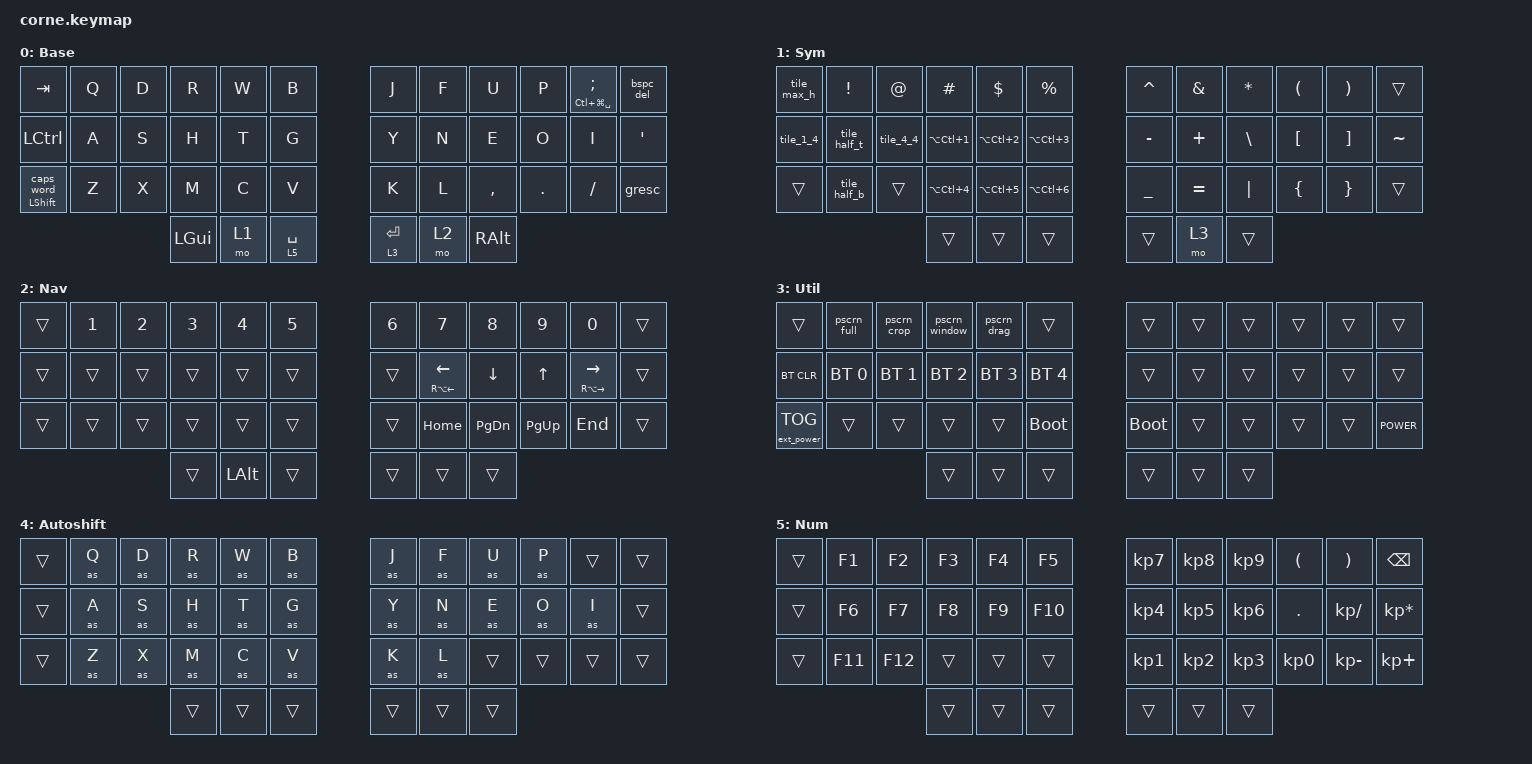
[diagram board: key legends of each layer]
/*
 * Copyright (c) 2020 The ZMK Contributors
 *
 * SPDX-License-Identifier: MIT
 */

#include <behaviors.dtsi>
#include <dt-bindings/zmk/bt.h>
#include <dt-bindings/zmk/ext_power.h>
#include <dt-bindings/zmk/keys.h>

/ {
    combos {
        compatible = "zmk,combos";

        vol_up {
            bindings = <&kp C_VOLUME_UP>;
            key-positions = <10 11>;
        };

        vol_down {
            bindings = <&kp C_VOLUME_DOWN>;
            key-positions = <22 23>;
        };

        vol_mute {
            bindings = <&kp K_MUTE>;
            key-positions = <34 35>;
        };

        media_next {
            bindings = <&kp C_NEXT>;
            key-positions = <8 9>;
        };

        media_prev {
            bindings = <&kp C_PREV>;
            key-positions = <6 7>;
        };

        media_play_pause {
            bindings = <&kp C_PLAY_PAUSE>;
            key-positions = <7 8>;
        };

        brightness_up {
            bindings = <&kp C_BRIGHTNESS_INC>;
            key-positions = <3 2>;
        };

        brightness_down {
            bindings = <&kp C_BRIGHTNESS_DEC>;
            key-positions = <1 2>;
        };

        window_right_half {
            bindings = <&kp LC(LA(RIGHT))>;
            key-positions = <17 16>;
            layers = <1>;
        };

        window_left_half {
            bindings = <&kp LC(LA(LEFT))>;
            key-positions = <16 15>;
            layers = <1>;
        };

        window_center {
            bindings = <&kp LC(LA(LS(E)))>;
            key-positions = <16 15 17>;
            layers = <1>;
        };

        first_two_thirds {
            bindings = <&kp LC(LA(LS(N)))>;
            key-positions = <27 28>;
        };

        last_two_thirds {
            bindings = <&kp LC(LA(LS(O)))>;
            key-positions = <28 29>;
        };

        first_three_fourths {
            bindings = <&kp LC(LA(LS(L)))>;
            key-positions = <12 13>;
        };

        last_three_fourths {
            bindings = <&kp LC(LA(LS(SLASH)))>;
            key-positions = <13 14>;
        };
    };

    behaviors {
        as_ht: autoshift_hold_tap {
            compatible = "zmk,behavior-hold-tap";
            label = "AUTOSHIFT_HOLD_TAP";
            bindings = <&shift>, <&kp>;

            #binding-cells = <2>;
            tapping-term-ms = <190>;
        };

        hml: homerow_mods_left {
            compatible = "zmk,behavior-hold-tap";
            label = "HOMEROW_MODS_LEFT_HAND";
            bindings = <&kp>, <&kp>;

            #binding-cells = <2>;
            tapping-term-ms = <220>;
            hold-trigger-key-positions = <6 7 8 9 10 11 18 19 20 21 22 23 30 31 32 33 34 35 39 40 41>;
        };

        hmr: homerow_mods_right {
            compatible = "zmk,behavior-hold-tap";
            label = "HOMEROW_MODS_RIGHT_HAND";
            bindings = <&kp>, <&kp>;

            #binding-cells = <2>;
            tapping-term-ms = <220>;
            hold-trigger-key-positions = <0 1 2 3 4 5 12 13 14 15 16 17 24 25 26 27 28 29 36 37 38>;
        };

        bspc_del: backspace_delete {
            compatible = "zmk,behavior-mod-morph";
            label = "BACKSPACE_DELETE";
            bindings = <&kp BACKSPACE>, <&kp DELETE>;

            #binding-cells = <0>;
            mods = <(MOD_LSFT|MOD_RSFT)>;
        };

        sft_cw: shift_caps_word {
            compatible = "zmk,behavior-hold-tap";
            label = "SHIFT_CAPS_WORD";
            bindings = <&kp>, <&caps_word>;

            #binding-cells = <2>;
            tapping-term-ms = <200>;
        };
    };

    macros {
        pscrn_drag: pscrn_drag {
            compatible = "zmk,behavior-macro";
            label = "PSCRN_DRAG";
            #binding-cells = <0>;
            bindings = <&kp LS(LG(N4))>;
        };

        pscrn_window: pscrn_window {
            compatible = "zmk,behavior-macro";
            label = "PSCRN_WINDOW";
            #binding-cells = <0>;
            bindings = <&kp LS(LG(N4)) &kp SPACE>;
        };

        pscrn_full: pscrn_full {
            compatible = "zmk,behavior-macro";
            label = "PSCRN_FULL";
            #binding-cells = <0>;
            bindings = <&kp LS(LG(N3))>;
        };

        pscrn_crop: pscrn_crop {
            compatible = "zmk,behavior-macro";
            label = "PSCRN_CROP";
            #binding-cells = <0>;
            bindings = <&kp LS(LG(N5))>;
        };

        shift: with_lshift {
            compatible = "zmk,behavior-macro-one-param";
            #binding-cells = <1>;
            bindings =
                <&macro_press>,
                <&kp LEFT_SHIFT>,
                <&macro_tap>,
                <&macro_param_1to1 &kp MACRO_PLACEHOLDER>,
                <&macro_release>,
                <&kp LEFT_SHIFT>;

            label = "KEY_PRESS_WITH_LEFT_SHIFT_MODIFIER";
        };

        as: autoshift {
            compatible = "zmk,behavior-macro-one-param";
            #binding-cells = <1>;
            bindings =
                <&macro_press>,
                <&macro_param_1to1 &macro_param_1to2 &as_ht MACRO_PLACEHOLDER MACRO_PLACEHOLDER>,
                <&macro_pause_for_release>,
                <&macro_release>,
                <&macro_param_1to1 &macro_param_1to2 &as_ht MACRO_PLACEHOLDER MACRO_PLACEHOLDER>;

            label = "AUTOSHIFT_KEYPRESS";
        };

        tile_half_t: bottom_half {
            compatible = "zmk,behavior-macro";
            #binding-cells = <0>;
            bindings = <&kp LC(LA(UP_ARROW))>;
            label = "BOTTOM_HALF";
        };

        tile_half_b: top_half {
            compatible = "zmk,behavior-macro";
            #binding-cells = <0>;
            bindings = <&kp LC(LA(DOWN_ARROW))>;
            label = "TOP_HALF";
        };

        tile_1_3: first_third {
            compatible = "zmk,behavior-macro";
            #binding-cells = <0>;
            bindings = <&kp LC(LA(N))>;
            label = "FIRST_THIRD";
        };

        tile_3_3: last_third {
            compatible = "zmk,behavior-macro";
            #binding-cells = <0>;
            bindings = <&kp LC(LA(O))>;
            label = "LAST_THIRD";
        };

        tile_1_4: first_fourth {
            compatible = "zmk,behavior-macro";
            #binding-cells = <0>;
            bindings = <&kp LC(LA(L))>;
            label = "FIRST_FOURTH";
        };

        tile_4_4: last_fourth {
            compatible = "zmk,behavior-macro";
            #binding-cells = <0>;
            bindings = <&kp LC(LA(SLASH))>;
            label = "LAST_FOURTH";
        };

        tile_max_h: max_height {
            compatible = "zmk,behavior-macro";
            #binding-cells = <0>;
            bindings = <&kp LC(LA(GRAVE))>;
            label = "MAX_HEIGHT";
        };
    };

    keymap {
        compatible = "zmk,keymap";

        default_layer {
            //  ┌─────┬─────┬─────┬─────┬─────┬─────┐      ┌─────┬─────┬─────┬─────┬─────┬─────┐
            //  │ TAB │  Q  │  D  │  R  │  W  │  B  │      │  J  │  F  │  U  │  P  │  ;  │ BS  │
            //  │ CTRL│  A  │  S  │  D  │  F  │  G  │      │  Y  │  N  │  E  │  O  │  I  │  '  │
            //  │ SHFT│  Z  │  X  │  C  │  V  │  B  │      │  K  │  L  │  ,  │  .  │  /  │ ESC │
            //  └─────┴─────┴─────┤ GUI │ LWR │ SPC │      │ ENT │ RSE │ ALT ├─────┴─────┴─────┘
            //                    └─────┴─────┴─────┘      └─────┴─────┴─────┘

            display-name = "Base";
            bindings = <
&kp TAB               &kp Q  &kp D  &kp R     &kp W  &kp B          &kp J      &kp F  &kp U      &kp P    &mt LC(LG(SPACE)) SEMICOLON  &bspc_del
&kp LCTRL             &kp A  &kp S  &kp H     &kp T  &kp G          &kp Y      &kp N  &kp E      &kp O    &kp I                        &kp APOSTROPHE
&sft_cw LEFT_SHIFT 0  &kp Z  &kp X  &kp M     &kp C  &kp V          &kp K      &kp L  &kp COMMA  &kp DOT  &kp FSLH                     &gresc
                                    &kp LGUI  &mo 1  &lt 5 SPACE    &lt 3 RET  &mo 2  &kp RALT
            >;
        };

        lower_layer {
            //  ┌─────┬─────┬─────┬─────┬─────┬─────┐      ┌─────┬─────┬─────┬─────┬─────┬─────┐
            //  │     │  !  │  @  │  £  │  $  │  %  │      │  ^  │  &  │  *  │  (  │  )  │ DEL │
            //  │     │     │     │     │     │     │      │  -  │  =  │  [  │  ]  │  \  │  `  │
            //  │     │     │     │     │     │     │      │  _  │  +  │  {  │  }  │  |  │  ~  │
            //  └─────┴─────┴─────┤     │     │     │      │     │ mo3 │     ├─────┴─────┴─────┘
            //                    └─────┴─────┴─────┘      └─────┴─────┴─────┘

            display-name = "Sym";
            bindings = <
&tile_max_h  &kp EXCL      &kp AT     &kp HASH              &kp DLLR              &kp PRCNT               &kp CARET  &kp AMPS   &kp ASTRK  &kp LEFT_PARENTHESIS  &kp RIGHT_PARENTHESIS  &trans
&tile_1_4    &tile_half_t  &tile_4_4  &kp LA(LC(NUMBER_1))  &kp LA(LC(NUMBER_2))  &kp LA(LC(NUMBER_3))    &kp MINUS  &kp PLUS   &kp BSLH   &kp LEFT_BRACKET      &kp RIGHT_BRACKET      &kp TILDE
&trans       &tile_half_b  &trans     &kp LA(LC(NUMBER_4))  &kp LA(LC(NUMBER_5))  &kp LA(LC(NUMBER_6))    &kp UNDER  &kp EQUAL  &kp PIPE   &kp LEFT_BRACE        &kp RIGHT_BRACE        &trans
                                      &trans                &trans                &trans                  &trans     &mo 3      &trans
            >;
        };

        raise_layer {
            //  ┌─────┬─────┬─────┬─────┬─────┬─────┐      ┌─────┬─────┬─────┬─────┬─────┬─────┐
            //  │     │  1  │  2  │  3  │  4  │  5  │      │  6  │  7  │  8  │  9  │  0  │ DEL │
            //  │     │     │     │     │     │     │      │ LFT │ DWN │  UP │ RGT │     │     │
            //  │     │     │     │     │     │     │      │ HOME│PG_DN│PG_UP│ END │     │     │
            //  └─────┴─────┴─────┤ mo4 │ mo3 │     │      │     │     │     ├─────┴─────┴─────┘
            //                    └─────┴─────┴─────┘      └─────┴─────┴─────┘

            display-name = "Nav";
            bindings = <
&trans  &kp N1  &kp N2  &kp N3  &kp N4        &kp N5    &kp N6  &kp N7                   &kp N8          &kp N9        &kp N0               &trans
&trans  &trans  &trans  &trans  &trans        &trans    &trans  &mt RA(LEFT_ARROW) LEFT  &kp DOWN_ARROW  &kp UP_ARROW  &mt RA(RIGHT) RIGHT  &trans
&trans  &trans  &trans  &trans  &trans        &trans    &trans  &kp HOME                 &kp PAGE_DOWN   &kp PAGE_UP   &kp END              &trans
                        &trans  &kp LEFT_ALT  &trans    &trans  &trans                   &trans
            >;
        };

        utility_layer {
            //  ┌─────┬─────┬─────┬─────┬─────┬─────┐      ┌─────┬─────┬─────┬─────┬─────┬─────┐
            //  │     │     │     │     │     │     │      │     │     │     │     │     │     │
            //  │BTCLR│ BT0 │ BT1 │ BT2 │ BT3 │ BT4 │      │     │     │     │     │     │     │
            //  │EGTOG│     │     │     │     │     │      │     │     │     │     │     │     │
            //  └─────┴─────┴─────┤     │     │     │      │     │     │     ├─────┴─────┴─────┘
            //                    └─────┴─────┴─────┘      └─────┴─────┴─────┘
            // -----------------------------------------------------------------------------------------
            // |       |     |     |     |     |     |   |     |     |     |     |     |      |
            // | BTCLR | BT0 | BT1 | BT2 | BT3 | BT4 |   |     |     |     |     |     |      |
            // |       |     |     |     |     |     |   |     |     |     |     |     |      |
            //                     |     |     |     |   |     |     |     |

            display-name = "Util";
            bindings = <
&trans             &pscrn_full   &pscrn_crop   &pscrn_window  &pscrn_drag   &trans          &trans       &trans  &trans  &trans  &trans  &trans
&bt BT_CLR         &bt BT_SEL 0  &bt BT_SEL 1  &bt BT_SEL 2   &bt BT_SEL 3  &bt BT_SEL 4    &trans       &trans  &trans  &trans  &trans  &trans
&ext_power EP_TOG  &trans        &trans        &trans         &trans        &bootloader     &bootloader  &trans  &trans  &trans  &trans  &kp K_POWER
                                               &trans         &trans        &trans          &trans       &trans  &trans
            >;
        };

        autoshift {
            bindings = <
&trans  &as Q  &as D  &as R   &as W   &as B     &as J   &as F   &as U   &as P   &trans  &trans
&trans  &as A  &as S  &as H   &as T   &as G     &as Y   &as N   &as E   &as O   &as I   &trans
&trans  &as Z  &as X  &as M   &as C   &as V     &as K   &as L   &trans  &trans  &trans  &trans
                      &trans  &trans  &trans    &trans  &trans  &trans
            >;

            display-name = "Autoshift";
        };

        numpad_layer {
            //  ┌─────┬─────┬─────┬─────┬─────┬─────┐      ┌─────┬─────┬─────┬─────┬─────┬─────┐
            //  │     │     │     │     │     │     │      │  7  │  8  │  9  │  (  │  )  │ BS  │
            //  │     │     │     │     │     │     │      │  4  │  5  │  6  │  .  │  /  │  *  │
            //  │     │     │     │     │     │     │      │  1  │  2  │  3  │  0  │  -  │  +  │
            //  └─────┴─────┴─────┤     │     │     │      │     │     │     ├─────┴─────┴─────┘
            //                    └─────┴─────┴─────┘      └─────┴─────┴─────┘

            display-name = "Num";
            bindings = <
&trans  &kp F1   &kp F2   &kp F3  &kp F4  &kp F5     &kp KP_N7  &kp KP_N8  &kp KP_N9  &kp LEFT_PARENTHESIS  &kp RIGHT_PARENTHESIS  &kp BACKSPACE
&trans  &kp F6   &kp F7   &kp F8  &kp F9  &kp F10    &kp KP_N4  &kp KP_N5  &kp KP_N6  &kp DOT               &kp KP_SLASH           &kp KP_MULTIPLY
&trans  &kp F11  &kp F12  &trans  &trans  &trans     &kp KP_N1  &kp KP_N2  &kp KP_N3  &kp KP_N0             &kp KP_SUBTRACT        &kp KP_PLUS
                          &trans  &trans  &trans     &trans     &trans     &trans
            >;
        };
    };
};
